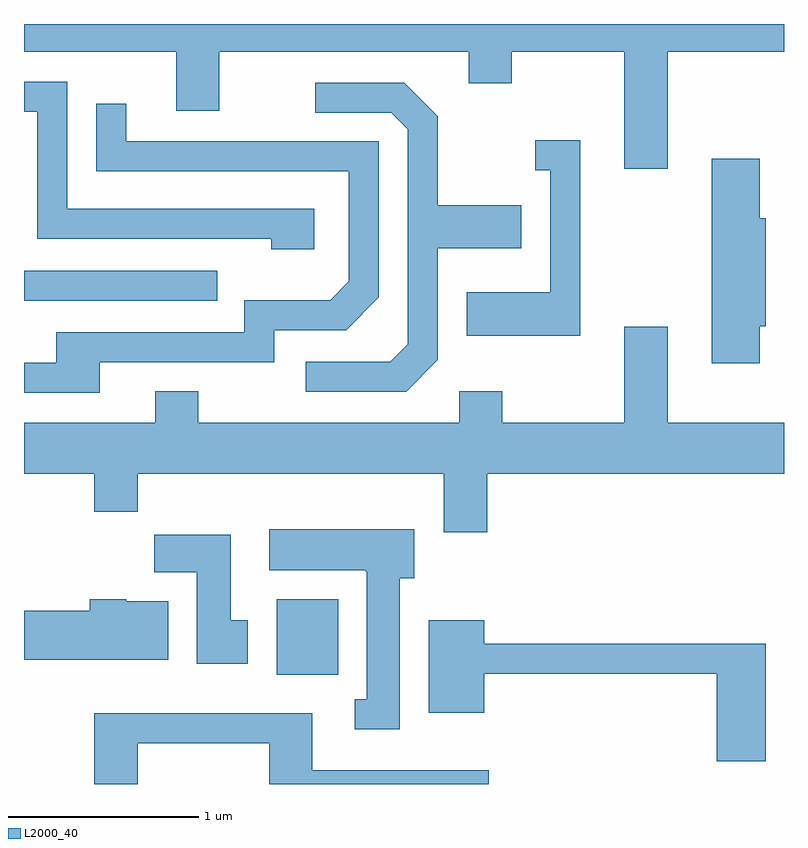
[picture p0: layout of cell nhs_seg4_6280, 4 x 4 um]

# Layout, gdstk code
import gdstk
lib = gdstk.Library(unit=1e-6, precision=1e-09)
def R(c, l, rs):  # rectangles x0, y0, x1, y1
    for r in rs: c.add(gdstk.rectangle(r[:2], r[2:], *l))
def P(c, l, *ps):  # polygons
    for p in ps: c.add(gdstk.Polygon(p, *l))
L2000_40 = (2000, 40)

nhs_seg4_6280 = lib.new_cell('nhs_seg4_6280')
R(nhs_seg4_6280, L2000_40, [(370.941,1302.556,371.264,1302.954), (369.611,1304.526,370.628,1304.684)])
P(nhs_seg4_6280, L2000_40, [(372.999,1305.836),(373.611,1305.836),(373.611,1305.982),(369.611,1305.982),(369.611,1305.836),(370.411,1305.836),(370.411,1305.526),(370.639,1305.526),(370.639,1305.836),(371.951,1305.836),(371.951,1305.671),(372.179,1305.671),(372.179,1305.836),(372.771,1305.836),(372.771,1305.221),(372.999,1305.221)],
  [(371.139,1305.009),(369.839,1305.009),(369.839,1305.679),(369.611,1305.679),(369.611,1305.521),(369.681,1305.521),(369.681,1304.851),(370.911,1304.851),(370.911,1304.796),(371.139,1304.796)],
  [(371.789,1304.214),(371.789,1304.801),(372.229,1304.801),(372.229,1305.029),(371.789,1305.029),(371.789,1305.497),(371.612,1305.674),(371.143,1305.674),(371.143,1305.516),(371.544,1305.516),(371.631,1305.429),(371.631,1304.297),(371.539,1304.204),(371.093,1304.204),(371.093,1304.046),(371.622,1304.046)],
  [(370.009,1304.201),(370.929,1304.201),(370.929,1304.371),(371.307,1304.371),(371.479,1304.544),(371.479,1305.364),(370.149,1305.364),(370.149,1305.563),(369.991,1305.563),(369.991,1305.206),(371.321,1305.206),(371.321,1304.627),(371.224,1304.529),(370.771,1304.529),(370.771,1304.359),(369.781,1304.359),(369.781,1304.199),(369.611,1304.199),(369.611,1304.041),(370.009,1304.041)],
  [(372.539,1305.369),(372.303,1305.369),(372.303,1305.211),(372.381,1305.211),(372.381,1304.569),(371.941,1304.569),(371.941,1304.341),(372.539,1304.341)],
  [(373.484,1304.391),(373.514,1304.391),(373.514,1304.959),(373.484,1304.959),(373.484,1305.274),(373.231,1305.274),(373.231,1304.196),(373.484,1304.196)],
  [(372.049,1303.616),(373.611,1303.616),(373.611,1303.884),(372.999,1303.884),(372.999,1304.389),(372.771,1304.389),(372.771,1303.884),(372.129,1303.884),(372.129,1304.049),(371.901,1304.049),(371.901,1303.884),(370.529,1303.884),(370.529,1304.049),(370.301,1304.049),(370.301,1303.884),(369.611,1303.884),(369.611,1303.616),(369.981,1303.616),(369.981,1303.416),(370.209,1303.416),(370.209,1303.616),(371.821,1303.616),(371.821,1303.306),(372.049,1303.306)],
  [(371.589,1303.066),(371.664,1303.066),(371.664,1303.324),(370.901,1303.324),(370.901,1303.106),(371.41,1303.106),(371.41,1303.1),(371.416,1303.1),(371.416,1302.429),(371.353,1302.429),(371.353,1302.271),(371.589,1302.271)],
  [(370.789,1302.844),(370.699,1302.844),(370.699,1303.294),(370.296,1303.294),(370.296,1303.096),(370.521,1303.096),(370.521,1302.616),(370.789,1302.616)],
  [(370.369,1302.944),(370.15,1302.944),(370.15,1302.954),(369.956,1302.954),(369.956,1302.894),(369.611,1302.894),(369.611,1302.636),(370.369,1302.636)],
  [(373.514,1302.719),(372.034,1302.719),(372.034,1302.844),(371.741,1302.844),(371.741,1302.356),(372.034,1302.356),(372.034,1302.561),(373.256,1302.561),(373.256,1302.101),(373.514,1302.101)],
  [(370.209,1302.196),(370.901,1302.196),(370.901,1301.982),(372.058,1301.982),(372.058,1302.054),(371.129,1302.054),(371.129,1302.354),(369.981,1302.354),(369.981,1301.982),(370.209,1301.982)])

lib.write_gds('nhs_seg4_6280.gds')
